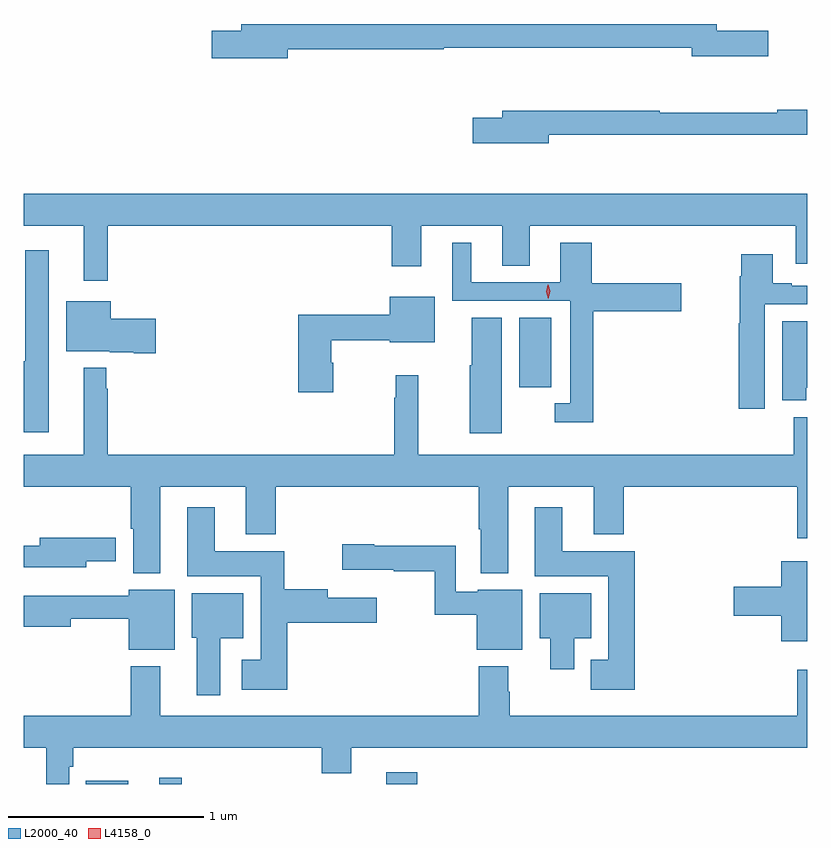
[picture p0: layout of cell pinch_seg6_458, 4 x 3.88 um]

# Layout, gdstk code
import gdstk
lib = gdstk.Library(unit=1e-6, precision=1e-09)
def R(c, l, rs):  # rectangles x0, y0, x1, y1
    for r in rs: c.add(gdstk.rectangle(r[:2], r[2:], *l))
def P(c, l, *ps):  # polygons
    for p in ps: c.add(gdstk.Polygon(p, *l))
L2000_40 = (2000, 40)
L4158_0 = (4158, 0)

pinch_seg6_458 = lib.new_cell('pinch_seg6_458')
R(pinch_seg6_458, L2000_40, [(769.642,917.847,769.858,917.863), (770.016,917.847,770.132,917.878), (771.176,917.847,771.335,917.908), (771.854,919.872,772.018,920.228)])
P(pinch_seg6_458, L2000_40, [(770.674,921.598),(771.47,921.598),(771.47,921.606),(772.736,921.606),(772.736,921.563),(773.125,921.563),(773.125,921.693),(772.864,921.693),(772.864,921.727),(770.435,921.727),(770.435,921.693),(770.286,921.693),(770.286,921.551),(770.674,921.551)],
  [(772.006,921.162),(773.325,921.162),(773.325,921.29),(773.171,921.29),(773.171,921.275),(772.571,921.275),(772.571,921.283),(771.767,921.283),(771.767,921.249),(771.618,921.249),(771.618,921.119),(772.006,921.119)],
  [(769.753,920.696),(771.203,920.696),(771.203,920.49),(771.355,920.49),(771.355,920.696),(771.767,920.696),(771.767,920.494),(771.907,920.494),(771.907,920.696),(773.267,920.696),(773.267,920.502),(773.325,920.502),(773.325,920.86),(769.325,920.86),(769.325,920.696),(769.631,920.696),(769.631,920.415),(769.753,920.415)],
  [(772.232,920.261),(772.681,920.261),(772.681,920.403),(772.226,920.403),(772.226,920.611),(772.064,920.611),(772.064,920.409),(771.61,920.409),(771.61,920.611),(771.512,920.611),(771.512,920.313),(772.116,920.313),(772.116,919.791),(772.035,919.791),(772.035,919.694),(772.232,919.694)],
  [(769.453,920.572),(769.332,920.572),(769.332,920.005),(769.325,920.005),(769.325,919.643),(769.453,919.643)],
  [(773.107,920.295),(773.325,920.295),(773.325,920.391),(773.245,920.391),(773.245,920.404),(773.149,920.404),(773.149,920.551),(772.988,920.551),(772.988,920.438),(772.981,920.438),(772.981,920.198),(772.976,920.198),(772.976,919.764),(773.107,919.764)],
  [(770.904,919.998),(770.896,919.998),(770.896,920.113),(771.194,920.113),(771.194,920.102),(771.424,920.102),(771.424,920.335),(771.194,920.335),(771.194,920.242),(770.726,920.242),(770.726,919.848),(770.904,919.848)],
  [(769.999,920.223),(769.768,920.223),(769.768,920.311),(769.541,920.311),(769.541,920.057),(769.764,920.057),(769.764,920.051),(769.886,920.051),(769.886,920.045),(769.999,920.045)],
  [(771.766,920.228),(771.611,920.228),(771.611,919.986),(771.602,919.986),(771.602,919.638),(771.766,919.638)],
  [(773.32,919.869),(773.325,919.869),(773.325,920.21),(773.198,920.21),(773.198,919.805),(773.32,919.805)],
  [(770.023,919.364),(770.459,919.364),(770.459,919.121),(770.612,919.121),(770.612,919.364),(771.647,919.364),(771.647,919.147),(771.659,919.147),(771.659,918.923),(771.799,918.923),(771.799,919.364),(772.235,919.364),(772.235,919.121),(772.388,919.121),(772.388,919.364),(773.275,919.364),(773.275,919.101),(773.325,919.101),(773.325,919.72),(773.255,919.72),(773.255,919.528),(771.338,919.528),(771.338,919.933),(771.225,919.933),(771.225,919.82),(771.217,919.82),(771.217,919.528),(769.753,919.528),(769.753,919.865),(769.745,919.865),(769.745,919.972),(769.631,919.972),(769.631,919.528),(769.325,919.528),(769.325,919.364),(769.871,919.364),(769.871,919.149),(769.883,919.149),(769.883,918.923),(770.023,918.923)],
  [(770.669,918.67),(771.127,918.67),(771.127,918.799),(770.878,918.799),(770.878,918.841),(770.656,918.841),(770.656,919.036),(770.299,919.036),(770.299,919.261),(770.159,919.261),(770.159,918.908),(770.534,918.908),(770.534,918.481),(770.439,918.481),(770.439,918.329),(770.669,918.329)],
  [(772.445,919.036),(772.075,919.036),(772.075,919.261),(771.935,919.261),(771.935,918.908),(772.31,918.908),(772.31,918.481),(772.22,918.481),(772.22,918.329),(772.445,918.329)],
  [(769.645,918.983),(769.795,918.983),(769.795,919.105),(769.406,919.105),(769.406,919.063),(769.325,919.063),(769.325,918.953),(769.645,918.953)],
  [(771.871,918.838),(771.642,918.838),(771.642,918.828),(771.531,918.828),(771.531,919.063),(771.114,919.063),(771.114,919.071),(770.952,919.071),(770.952,918.941),(771.214,918.941),(771.214,918.934),(771.423,918.934),(771.423,918.712),(771.638,918.712),(771.638,918.533),(771.871,918.533)],
  [(773.325,918.985),(773.192,918.985),(773.192,918.854),(772.95,918.854),(772.95,918.707),(773.192,918.707),(773.192,918.575),(773.325,918.575)],
  [(770.095,918.838),(769.862,918.838),(769.862,918.808),(769.325,918.808),(769.325,918.649),(769.564,918.649),(769.564,918.691),(769.862,918.691),(769.862,918.533),(770.095,918.533)],
  [(772.135,918.59),(772.222,918.59),(772.222,918.82),(771.959,918.82),(771.959,918.59),(772.013,918.59),(772.013,918.432),(772.135,918.432)],
  [(770.329,918.59),(770.446,918.59),(770.446,918.82),(770.183,918.82),(770.183,918.594),(770.207,918.594),(770.207,918.3),(770.329,918.3)],
  [(769.557,917.936),(769.577,917.936),(769.577,918.032),(770.846,918.032),(770.846,917.902),(770.998,917.902),(770.998,918.032),(773.325,918.032),(773.325,918.43),(773.275,918.43),(773.275,918.196),(771.807,918.196),(771.807,918.317),(771.799,918.317),(771.799,918.448),(771.647,918.448),(771.647,918.196),(770.023,918.196),(770.023,918.448),(769.871,918.448),(769.871,918.196),(769.325,918.196),(769.325,918.032),(769.441,918.032),(769.441,917.847),(769.557,917.847)])
P(pinch_seg6_458, L4158_0, [(772.002,920.325),(772.002,920.325),(771.992,920.361),(772.001,920.397),(772.001,920.397),(772.002,920.397),(772.012,920.362),(772.003,920.325)])

lib.write_gds('pinch_seg6_458.gds')
